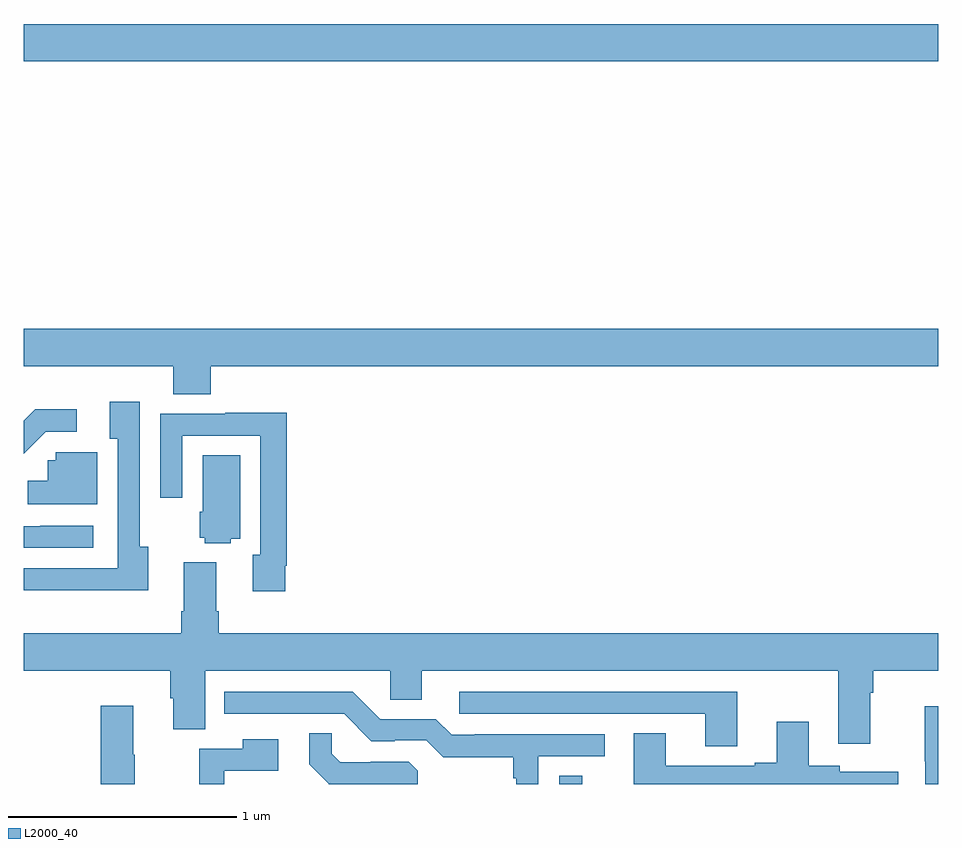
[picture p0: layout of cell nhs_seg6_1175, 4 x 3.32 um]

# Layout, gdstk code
import gdstk
lib = gdstk.Library(unit=1e-6, precision=1e-09)
def R(c, l, rs):  # rectangles x0, y0, x1, y1
    for r in rs: c.add(gdstk.rectangle(r[:2], r[2:], *l))
def P(c, l, *ps):  # polygons
    for p in ps: c.add(gdstk.Polygon(p, *l))
L2000_40 = (2000, 40)

nhs_seg6_1175 = lib.new_cell('nhs_seg6_1175')
R(nhs_seg6_1175, L2000_40, [(185.343,953.5,185.442,953.537), (183,956.66,187,956.824)])
P(nhs_seg6_1175, L2000_40, [(183.818,955.328),(187,955.328),(187,955.492),(183,955.492),(183,955.328),(183.653,955.328),(183.653,955.204),(183.818,955.204)],
  [(183.544,954.538),(183.507,954.538),(183.507,955.171),(183.377,955.171),(183.377,955.01),(183.411,955.01),(183.411,954.444),(183,954.444),(183,954.348),(183.079,954.348),(183.079,954.347),(183.544,954.347)],
  [(183.096,955.041),(183.232,955.041),(183.232,955.139),(183.05,955.139),(183,955.089),(183,954.945)],
  [(184.144,954.454),(184.151,954.454),(184.151,955.123),(183.881,955.123),(183.881,955.119),(183.597,955.119),(183.597,954.753),(183.693,954.753),(183.693,955.023),(184.035,955.023),(184.035,954.503),(184.001,954.503),(184.001,954.342),(184.144,954.342)],
  [(183.322,954.951),(183.141,954.951),(183.141,954.915),(183.105,954.915),(183.105,954.826),(183.018,954.826),(183.018,954.723),(183.322,954.723)],
  [(183.906,954.572),(183.946,954.572),(183.946,954.938),(183.782,954.938),(183.782,954.69),(183.77,954.69),(183.77,954.576),(183.792,954.576),(183.792,954.554),(183.906,954.554)],
  [(183.304,954.63),(183.073,954.63),(183.073,954.627),(183,954.627),(183,954.534),(183.304,954.534)],
  [(183.793,953.996),(184.602,953.996),(184.602,953.869),(184.741,953.869),(184.741,953.996),(186.563,953.996),(186.563,953.676),(186.703,953.676),(186.703,953.9),(186.716,953.9),(186.716,953.996),(187,953.996),(187,954.16),(183.854,954.16),(183.854,954.256),(183.841,954.256),(183.841,954.469),(183.701,954.469),(183.701,954.256),(183.689,954.256),(183.689,954.16),(183,954.16),(183,953.996),(183.641,953.996),(183.641,953.874),(183.653,953.874),(183.653,953.74),(183.793,953.74)],
  [(185.25,953.622),(185.542,953.622),(185.542,953.718),(184.972,953.718),(184.972,953.715),(184.872,953.715),(184.803,953.784),(184.56,953.784),(184.44,953.904),(183.878,953.904),(183.878,953.808),(184.401,953.808),(184.521,953.688),(184.622,953.688),(184.622,953.691),(184.761,953.691),(184.834,953.618),(185.142,953.618),(185.142,953.525),(185.154,953.525),(185.154,953.5),(185.25,953.5)],
  [(186.121,953.904),(184.905,953.904),(184.905,953.808),(185.981,953.808),(185.981,953.665),(186.121,953.665)],
  [(183.486,953.629),(183.478,953.629),(183.478,953.842),(183.337,953.842),(183.337,953.5),(183.486,953.5)],
  [(187,953.839),(186.94,953.839),(186.94,953.6),(186.942,953.6),(186.942,953.5),(187,953.5)],
  [(186.826,953.553),(186.57,953.553),(186.57,953.58),(186.433,953.58),(186.433,953.773),(186.293,953.773),(186.293,953.593),(186.197,953.593),(186.197,953.58),(185.809,953.58),(185.809,953.723),(185.669,953.723),(185.669,953.5),(186.826,953.5)],
  [(184.724,953.557),(184.683,953.598),(184.518,953.598),(184.518,953.595),(184.384,953.595),(184.347,953.632),(184.347,953.723),(184.249,953.723),(184.249,953.587),(184.335,953.501),(184.335,953.5),(184.724,953.5)],
  [(183.876,953.559),(184.114,953.559),(184.114,953.695),(183.958,953.695),(183.958,953.655),(183.768,953.655),(183.768,953.5),(183.876,953.5)])

lib.write_gds('nhs_seg6_1175.gds')
